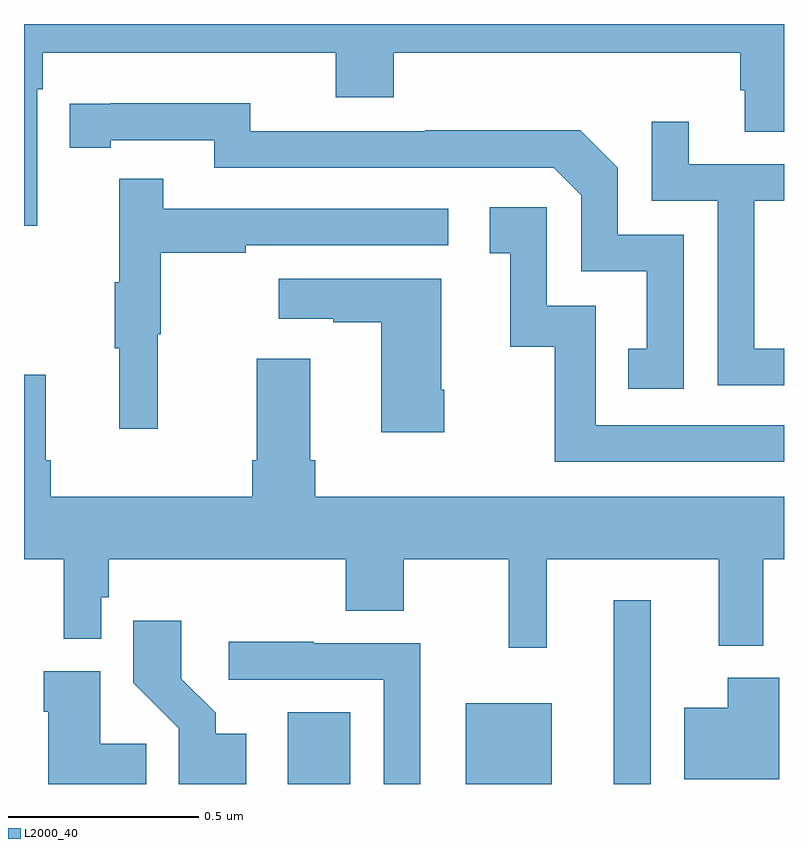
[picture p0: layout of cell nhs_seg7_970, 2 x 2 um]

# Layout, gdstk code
import gdstk
lib = gdstk.Library(unit=1e-6, precision=1e-09)
def R(c, l, rs):  # rectangles x0, y0, x1, y1
    for r in rs: c.add(gdstk.rectangle(r[:2], r[2:], *l))
def P(c, l, *ps):  # polygons
    for p in ps: c.add(gdstk.Polygon(p, *l))
L2000_40 = (2000, 40)

nhs_seg7_970 = lib.new_cell('nhs_seg7_970')
R(nhs_seg7_970, L2000_40, [(124.694,1024,124.858,1024.189), (125.162,1024,125.389,1024.213), (125.552,1024,125.649,1024.483)])
P(nhs_seg7_970, L2000_40, [(124.035,1025.828),(124.049,1025.828),(124.049,1025.924),(124.82,1025.924),(124.82,1025.807),(124.973,1025.807),(124.973,1025.924),(125.885,1025.924),(125.885,1025.826),(125.897,1025.826),(125.897,1025.716),(126,1025.716),(126,1026),(124,1026),(124,1025.469),(124.035,1025.469)],
  [(125.736,1025.445),(125.562,1025.445),(125.562,1025.622),(125.464,1025.72),(125.056,1025.72),(125.056,1025.718),(124.596,1025.718),(124.596,1025.791),(124.228,1025.791),(124.228,1025.79),(124.12,1025.79),(124.12,1025.674),(124.228,1025.674),(124.228,1025.694),(124.5,1025.694),(124.5,1025.622),(125.394,1025.622),(125.466,1025.55),(125.466,1025.349),(125.639,1025.349),(125.639,1025.145),(125.59,1025.145),(125.59,1025.04),(125.736,1025.04)],
  [(126,1025.146),(125.922,1025.146),(125.922,1025.535),(126,1025.535),(126,1025.631),(125.749,1025.631),(125.749,1025.743),(125.652,1025.743),(125.652,1025.535),(125.826,1025.535),(125.826,1025.049),(126,1025.049)],
  [(124.352,1025.184),(124.36,1025.184),(124.36,1025.398),(124.583,1025.398),(124.583,1025.418),(125.116,1025.418),(125.116,1025.514),(124.367,1025.514),(124.367,1025.593),(124.25,1025.593),(124.25,1025.321),(124.239,1025.321),(124.239,1025.147),(124.25,1025.147),(124.25,1024.935),(124.352,1024.935)],
  [(126,1024.944),(125.505,1024.944),(125.505,1025.259),(125.376,1025.259),(125.376,1025.518),(125.226,1025.518),(125.226,1025.397),(125.279,1025.397),(125.279,1025.151),(125.397,1025.151),(125.397,1024.848),(126,1024.848)],
  [(125.106,1025.038),(125.098,1025.038),(125.098,1025.329),(124.671,1025.329),(124.671,1025.225),(124.814,1025.225),(124.814,1025.215),(124.94,1025.215),(124.94,1024.926),(125.106,1024.926)],
  [(125.375,1024.592),(125.828,1024.592),(125.828,1024.364),(125.945,1024.364),(125.945,1024.592),(126,1024.592),(126,1024.756),(124.766,1024.756),(124.766,1024.852),(124.753,1024.852),(124.753,1025.119),(124.613,1025.119),(124.613,1024.852),(124.601,1024.852),(124.601,1024.756),(124.07,1024.756),(124.07,1024.852),(124.057,1024.852),(124.057,1025.077),(124,1025.077),(124,1024.592),(124.105,1024.592),(124.105,1024.382),(124.203,1024.382),(124.203,1024.491),(124.223,1024.491),(124.223,1024.592),(124.847,1024.592),(124.847,1024.456),(124.999,1024.456),(124.999,1024.592),(125.275,1024.592),(125.275,1024.359),(125.375,1024.359)],
  [(124.585,1024.132),(124.504,1024.132),(124.504,1024.187),(124.414,1024.277),(124.414,1024.429),(124.288,1024.429),(124.288,1024.266),(124.407,1024.147),(124.407,1024),(124.585,1024)],
  [(125.043,1024.371),(124.763,1024.371),(124.763,1024.374),(124.539,1024.374),(124.539,1024.275),(124.947,1024.275),(124.947,1024),(125.043,1024)],
  [(124.322,1024.106),(124.201,1024.106),(124.201,1024.297),(124.052,1024.297),(124.052,1024.19),(124.064,1024.19),(124.064,1024),(124.322,1024)],
  [(125.987,1024.279),(125.852,1024.279),(125.852,1024.201),(125.738,1024.201),(125.738,1024.013),(125.987,1024.013)])

lib.write_gds('nhs_seg7_970.gds')
